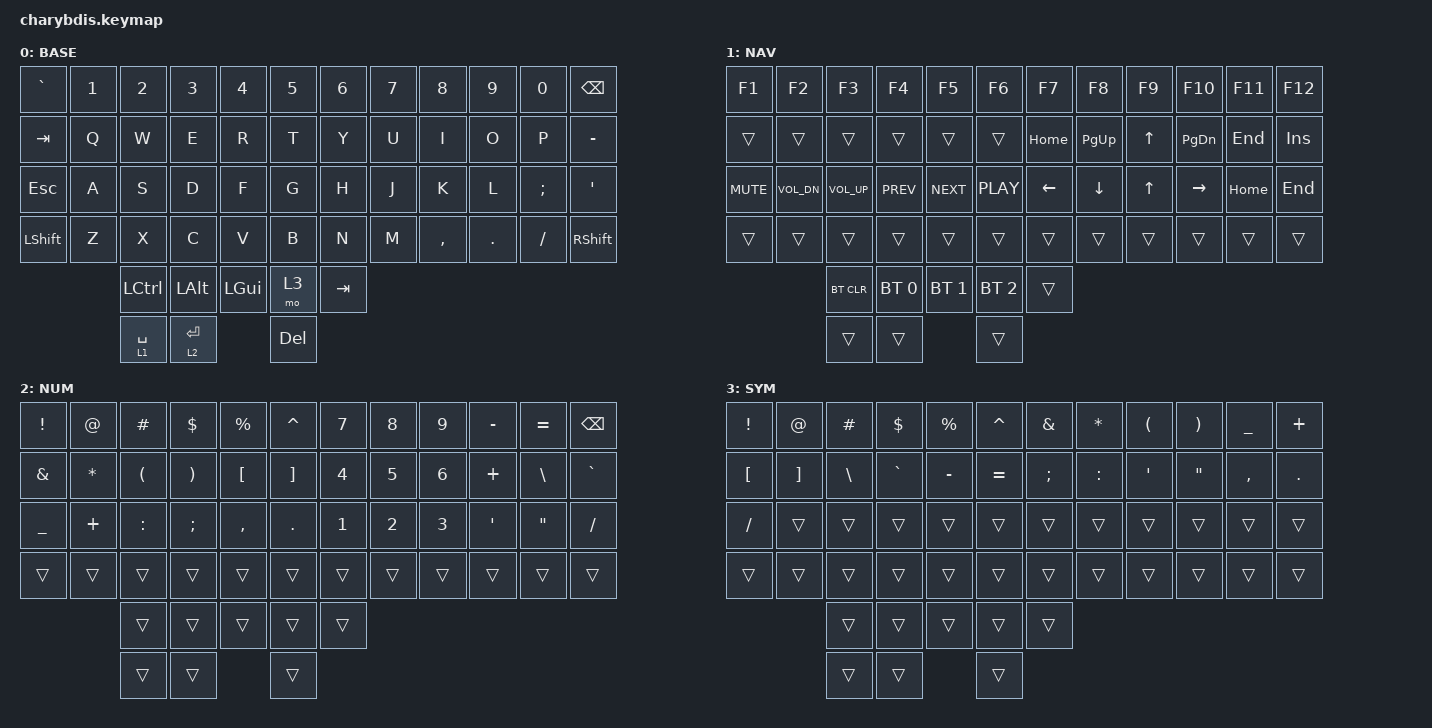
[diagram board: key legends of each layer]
#include <behaviors.dtsi>
#include <dt-bindings/zmk/keys.h>
#include <dt-bindings/zmk/mouse.h>
#include <dt-bindings/zmk/bt.h>
#undef RC
#include <dt-bindings/zmk/matrix_transform.h>

/ {
    trackball_listener {
        compatible = "zmk,input-listener";
        device = <&trackball>;
    };

    keymap {
        compatible = "zmk,keymap";

        default_layer {
            label = "BASE";
            bindings = <
                &kp GRAVE  &kp N1     &kp N2     &kp N3     &kp N4     &kp N5     &kp N6     &kp N7     &kp N8     &kp N9     &kp N0     &kp BSPC
                &kp TAB    &kp Q      &kp W      &kp E      &kp R      &kp T      &kp Y      &kp U      &kp I      &kp O      &kp P      &kp MINUS
                &kp ESC    &kp A      &kp S      &kp D      &kp F      &kp G      &kp H      &kp J      &kp K      &kp L      &kp SEMI   &kp SQT
                &kp LSHFT  &kp Z      &kp X      &kp C      &kp V      &kp B      &kp N      &kp M      &kp COMMA  &kp DOT    &kp SLASH  &kp RSHFT
                                        &kp LCTRL  &kp LALT   &kp LGUI   &mo 3      &kp TAB
                                        &lt 1 SPACE  &lt 2 ENTER  &kp DEL
            >;
        };

        nav_layer {
            label = "NAV";
            bindings = <
                &kp F1     &kp F2     &kp F3     &kp F4     &kp F5     &kp F6     &kp F7     &kp F8     &kp F9     &kp F10    &kp F11    &kp F12
                &trans     &trans     &trans     &trans     &trans     &trans     &kp HOME   &kp PG_UP  &kp UP     &kp PG_DN  &kp END    &kp INS
                &kp C_MUTE &kp C_VOL_DN &kp C_VOL_UP &kp C_PREV &kp C_NEXT &kp C_PLAY &kp LEFT  &kp DOWN  &kp UP     &kp RIGHT  &kp HOME   &kp END
                &trans     &trans     &trans     &trans     &trans     &trans     &trans     &trans     &trans     &trans     &trans     &trans
                                        &bt BT_CLR  &bt BT_SEL 0  &bt BT_SEL 1  &bt BT_SEL 2  &trans
                                        &trans     &trans     &trans
            >;
        };

        num_layer {
            label = "NUM";
            bindings = <
                &kp EXCL   &kp AT     &kp HASH   &kp DLLR   &kp PRCNT  &kp CARET  &kp N7     &kp N8     &kp N9     &kp MINUS  &kp EQUAL  &kp BSPC
                &kp AMPS   &kp STAR   &kp LPAR   &kp RPAR   &kp LBKT   &kp RBKT   &kp N4     &kp N5     &kp N6     &kp PLUS   &kp BSLH   &kp GRAVE
                &kp UNDER  &kp PLUS   &kp COLON  &kp SEMI   &kp COMMA  &kp DOT    &kp N1     &kp N2     &kp N3     &kp SQT    &kp DQT    &kp SLASH
                &trans     &trans     &trans     &trans     &trans     &trans     &trans     &trans     &trans     &trans     &trans     &trans
                                        &trans   &trans   &trans     &trans     &trans
                                        &trans   &trans   &trans
            >;
        };

        sym_layer {
            label = "SYM";
            bindings = <
                &kp EXCL   &kp AT     &kp HASH   &kp DLLR   &kp PRCNT  &kp CARET  &kp AMPS   &kp STAR   &kp LPAR   &kp RPAR   &kp UNDER  &kp PLUS
                &kp LBKT   &kp RBKT   &kp BSLH   &kp GRAVE  &kp MINUS  &kp EQUAL  &kp SEMI   &kp COLON  &kp SQT    &kp DQT    &kp COMMA  &kp DOT
                &kp SLASH  &trans     &trans     &trans     &trans     &trans     &trans     &trans     &trans     &trans     &trans     &trans
                &trans     &trans     &trans     &trans     &trans     &trans     &trans     &trans     &trans     &trans     &trans     &trans
                                        &trans   &trans   &trans     &trans     &trans
                                        &trans   &trans   &trans
            >;
        };
    };
};

&spi0 {
    trackball@0 {
        compatible = "pixart,pmw3610-alt";
    };
};

&kscan0 {
    row-gpios
        = <&pro_micro 21 GPIO_ACTIVE_HIGH>
        , <&pro_micro 18 GPIO_ACTIVE_HIGH>
        , <&pro_micro 5 GPIO_ACTIVE_HIGH>
        , <&pro_micro 4 GPIO_ACTIVE_HIGH>
        , <&pro_micro 9 GPIO_ACTIVE_HIGH>
        ;
};

&default_transform {
    rows = <5>;
    columns = <12>;

    map = <
        RC(0,0) RC(0,1) RC(0,2) RC(0,3) RC(0,4) RC(0,5)         RC(0,11) RC(0,10) RC(0,9) RC(0,8) RC(0,7) RC(0,6)
        RC(1,0) RC(1,1) RC(1,2) RC(1,3) RC(1,4) RC(1,5)         RC(1,11) RC(1,10) RC(1,9) RC(1,8) RC(1,7) RC(1,6)
        RC(2,0) RC(2,1) RC(2,2) RC(2,3) RC(2,4) RC(2,5)         RC(2,11) RC(2,10) RC(2,9) RC(2,8) RC(2,7) RC(2,6)
        RC(3,0) RC(3,1) RC(3,2) RC(3,3) RC(3,4) RC(3,5)         RC(3,11) RC(3,10) RC(3,9) RC(3,8) RC(3,7) RC(3,6)
                                RC(4,3) RC(4,4) RC(4,1)         RC(4,6)  RC(4,8)
                                        RC(4,5) RC(4,2)         RC(4,10)
    >;
};
